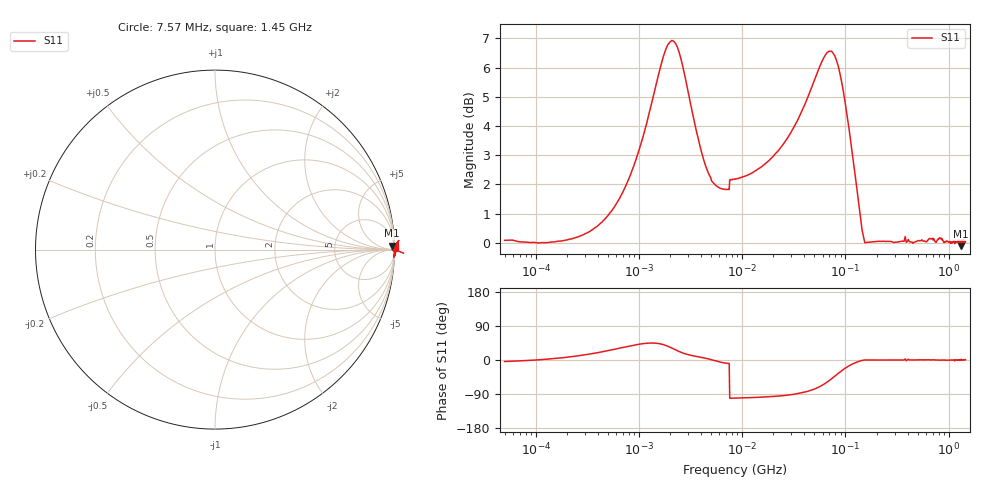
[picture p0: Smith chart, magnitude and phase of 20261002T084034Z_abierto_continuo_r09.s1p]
! piloto_saltos / abierto_continuo / r09
# HZ S RI R 50
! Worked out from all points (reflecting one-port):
!   501 points, 50 kHz to 1.45 GHz, reference 50 ohm
!   lowest |S11| = -0.1 dB at 1.31 GHz (marker M1), VSWR 150.19, Z = 2.09e+03 + j3.37e+03 ohm
!   phase of S11 starts at -4 deg and turns +5 deg over the sweep
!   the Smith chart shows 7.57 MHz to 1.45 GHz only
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50000  1.007 -0.0702
183000  1.003 0.1047
363500  1.008 0.3167
658000  1.02 0.6272
1180000  1.145 1.11
1630000  1.49 1.353
1990000  1.825 1.239
2440000  1.961 0.8175
2890000  1.806 0.4924
3430000  1.588 0.2952
4870000  1.298 0.0433
7300000  1.218 -0.1928
7750000  -0.2409 -1.261
8560000  -0.2352 -1.263
1.81e7  -0.1678 -1.372
3.16e7  -0.0118 -1.578
4.78e7  0.3669 -1.823
6.49e7  1.045 -1.827
7.39e7  1.4 -1.599
8.65e7  1.652 -1.1
9.82e7  1.628 -0.6738
1e8  1.609 -0.6212
1.18e8  1.376 -0.2435
1.36e8  1.148 -0.0684
1.63e8  1.002 -0.000655
4.06e8  1.012 0.0377
1.3105e9  0.9865 0.0212
1.45e9  1.004 0.0163
